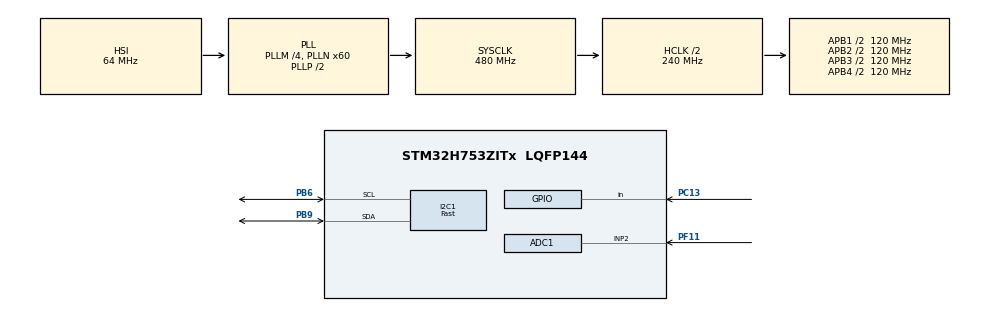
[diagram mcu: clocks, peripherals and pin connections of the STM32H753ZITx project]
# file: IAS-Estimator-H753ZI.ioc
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ADC1.Channel-1\#ChannelRegularConversion=ADC_CHANNEL_2
ADC1.ClockPrescaler=ADC_CLOCK_ASYNC_DIV4
ADC1.ContinuousConvMode=DISABLE
ADC1.ConversionDataManagement=ADC_CONVERSIONDATA_DMA_CIRCULAR
ADC1.ExternalTrigConv=ADC_EXTERNALTRIG_T3_TRGO
ADC1.NbrOfConversionFlag=1
ADC1.OffsetNumber-1\#ChannelRegularConversion=ADC_OFFSET_NONE
ADC1.OffsetSignedSaturation-1\#ChannelRegularConversion=DISABLE
ADC1.Rank-1\#ChannelRegularConversion=1
ADC1.SamplingTime-1\#ChannelRegularConversion=ADC_SAMPLETIME_1CYCLE_5
ADC1.master=1
CORTEX_M7.CPU_DCache=Disabled
CORTEX_M7.CPU_ICache=Disabled
CORTEX_M7.MPU_Control=__NULL
CORTEX_M7.default_mode_Activation=1
Dma.ADC1.0.Direction=DMA_PERIPH_TO_MEMORY
Dma.ADC1.0.EventEnable=DISABLE
Dma.ADC1.0.FIFOMode=DMA_FIFOMODE_DISABLE
Dma.ADC1.0.Instance=DMA1_Stream0
Dma.ADC1.0.MemDataAlignment=DMA_MDATAALIGN_HALFWORD
Dma.ADC1.0.MemInc=DMA_MINC_ENABLE
Dma.ADC1.0.Mode=DMA_CIRCULAR
Dma.ADC1.0.PeriphDataAlignment=DMA_PDATAALIGN_HALFWORD
Dma.ADC1.0.PeriphInc=DMA_PINC_DISABLE
Dma.ADC1.0.Polarity=HAL_DMAMUX_REQ_GEN_RISING
Dma.ADC1.0.Priority=DMA_PRIORITY_LOW
Dma.ADC1.0.RequestNumber=1
Dma.ADC1.0.SignalID=NONE
Dma.ADC1.0.SyncEnable=DISABLE
Dma.ADC1.0.SyncPolarity=HAL_DMAMUX_SYNC_NO_EVENT
Dma.ADC1.0.SyncRequestNumber=1
Dma.ADC1.0.SyncSignalID=NONE
Dma.Request0=ADC1
I2C1.I2C_Speed_Mode=I2C_Fast
I2C1.Timing=0x00B03FDB
Mcu.Family=STM32H7
Mcu.Name=STM32H753ZITx
Mcu.Package=LQFP144
NUCLEO-H753ZI.BUTTON=1
NUCLEO-H753ZI.LD1=true
NUCLEO-H753ZI.LD2=true
NUCLEO-H753ZI.LD3=true
NUCLEO-H753ZI.VCP=true
NVIC.DMA1_Stream0_IRQn=true\:0\:0\:false\:false\:true\:false\:true\:true
NVIC.EXTI15_10_IRQn=true\:0\:0\:false\:false\:true\:false\:true\:true
NVIC.PriorityGroup=NVIC_PRIORITYGROUP_4
PB6.Mode=I2C
PB6.Signal=I2C1_SCL
PB9.Mode=I2C
PB9.Signal=I2C1_SDA
PC13.Signal=GPIO_Input
PC14-OSC32_IN\ (OSC32_IN).Signal=RCC_OSC32_IN
PC15-OSC32_OUT\ (OSC32_OUT).Signal=RCC_OSC32_OUT
PD8.Signal=USART3_TX
PD9.Signal=USART3_RX
PF11.Mode=IN2-Single-Ended
PF11.Signal=ADC1_INP2
PH0-OSC_IN\ (PH0).Signal=RCC_OSC_IN
PH1-OSC_OUT\ (PH1).Signal=RCC_OSC_OUT
ProjectManager.HeapSize=0x200
ProjectManager.StackSize=0x400
ProjectManager.TargetToolchain=Makefile
RCC.ADCFreq_Value=80000000
RCC.APB1Freq_Value=120000000
RCC.APB2Freq_Value=120000000
RCC.APB3Freq_Value=120000000
RCC.APB4Freq_Value=120000000
RCC.CortexFreq_Value=480000000
RCC.D1PPRE=RCC_APB3_DIV2
RCC.D2PPRE1=RCC_APB1_DIV2
RCC.D2PPRE2=RCC_APB2_DIV2
RCC.D3PPRE=RCC_APB4_DIV2
RCC.DIVM1=4
RCC.DIVM2=4
RCC.DIVN1=60
RCC.DIVN2=10
RCC.DIVQ1=4
RCC.HCLKFreq_Value=240000000
RCC.HPRE=RCC_HCLK_DIV2
RCC.HSE_VALUE=8000000
RCC.PLL2FRACN=0
RCC.PLL3FRACN=0
RCC.PLLFRACN=0
RCC.PWR_Regulator_Voltage_Scale=PWR_REGULATOR_VOLTAGE_SCALE0
RCC.SYSCLKFreq_VALUE=480000000
RCC.SYSCLKSource=RCC_SYSCLKSOURCE_PLLCLK
RCC.USBFreq_Value=240000000
TIM3.Period=999
TIM3.Prescaler=119
TIM3.TIM_MasterOutputTrigger=TIM_TRGO_UPDATE
VP_MEMORYMAP_VS_MEMORYMAP.Mode=CurAppReg
VP_NUCLEO-H753ZI_VS_BSP_COMMON.Mode=COMMON
VP_TIM3_VS_ClockSourceINT.Mode=Internal
board=NUCLEO-H753ZI

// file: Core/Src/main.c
/* USER CODE BEGIN Header */
/**
  ******************************************************************************
  * @file           : main.c
  * @brief          : Main program body
  ******************************************************************************
  * @attention
  *
  * Copyright (c) 2026 STMicroelectronics.
  * All rights reserved.
  *
  * This software is licensed under terms that can be found in the LICENSE file
  * in the root directory of this software component.
  * If no LICENSE file comes with this software, it is provided AS-IS.
  *
  ******************************************************************************
  */
/* USER CODE END Header */
#include "main.h"

/* USER CODE BEGIN Includes */
#include <stdio.h>
#include <string.h>
#include <stdbool.h>
#include <math.h>

#include "arm_math.h"
#include "ssd1306.h"
#include "ssd1306_fonts.h"
/* USER CODE END Includes */

/* USER CODE BEGIN PD */
#define ADC_BUFFER_SIZE 2048
#define FFT_SIZE ADC_BUFFER_SIZE

#define SAMPLE_RATE 2000.0f
#define MIN_OMEGA 5.0f
#define MAX_OMEGA 24.0f
#define N_OMEGA 100
#define N_ORDERS 2
#define TRACKING_SIGMA 0.5f
#define TRACKING_WEIGHT 40.0f
#define RMS_SIGMA 1.0f
#define RMS_WEIGHT 15.0f
#define RMS_MAX 320.0f
#define DISAGREE_THRESHOLD 3.0f
#define AMPLITUDE_THRESHOLD 20.0f
#define WAIT_STEPS 1

/* Voltage measurement */
#define VREF 3.3f
#define ADC_MAX 65535.0f           /* 16-bit ADC max value (2^16 - 1) */
/* USER CODE END PD */

COM_InitTypeDef BspCOMInit;
ADC_HandleTypeDef hadc1;
DMA_HandleTypeDef hdma_adc1;

I2C_HandleTypeDef hi2c1;

TIM_HandleTypeDef htim3;

/* USER CODE BEGIN PV */

/* ADC DMA buffer - must be in AXI SRAM (DMA cannot access DTCMRAM on H7) */
__attribute__((section(".ram_d1"))) uint16_t adc_input_buffer[ADC_BUFFER_SIZE];

volatile uint8_t buffer_half_full_flag = 0;
volatile uint8_t buffer_full_flag = 0;

// FFT buffers and instance
float32_t fft_input[FFT_SIZE];
float32_t fft_output[FFT_SIZE * 2];  // Complex output: real and imaginary
float32_t fft_magnitude[FFT_SIZE];
float32_t hann_window[FFT_SIZE];

arm_rfft_fast_instance_f32 fft_instance;

static const uint8_t mopa_orders[N_ORDERS] = {1, 4};
float32_t mopa_omega[N_OMEGA];
float32_t mopa_pdf[N_OMEGA];
float32_t mopa_biased_pdf[N_OMEGA];
float32_t mopa_prev_ias = 0.0f;
float32_t mopa_current_ias = 0.0f;
volatile uint8_t mopa_ias_ready = 0;
uint8_t mopa_initialized = 0;

float32_t spectrum_df = 0.0f;
float32_t spectrum_max_freq = 0.0f;
float32_t mopa_frame_rms = 0.0f;
uint8_t mopa_was_zero = 1;
uint16_t mopa_consecutive_nonzero = 0;
uint32_t display_last_update = 0;

/* USER CODE END PV */

void SystemClock_Config(void);
static void MX_GPIO_Init(void);
static void MX_DMA_Init(void);
static void MX_ADC1_Init(void);
static void MX_TIM3_Init(void);
static void MX_I2C1_Init(void);
/* USER CODE BEGIN PFP */

static void mopa_init(void);
static void normalize_spectrum(void);
static float32_t interp_spectrum(float32_t freq);
static void compute_pdf_map(void);
static float32_t rms_to_omega(float32_t rms);
static float32_t extract_ias(void);

/* USER CODE END PFP */

/* USER CODE BEGIN 0 */

/*
HELPER FUNCTIONS
*/

// Initialize Hann window coefficients
void init_hann_window(void)
{
  const float32_t pi = 3.14159265358979323846f;
  for (uint32_t i = 0; i < FFT_SIZE; i++)
  {
    // Hann window: w(n) = 0.5 * (1 - cos(2*pi*n/(N-1)))
    hann_window[i] = 0.5f * (1.0f - arm_cos_f32(2.0f * pi * i / (FFT_SIZE - 1)));
  }
}

/*
MOPA FUNCTIONS
*/

// Process FFT on ADC buffer segment with Hann windowing
void process_fft(uint16_t* input, uint32_t offset)
{
  uint32_t half_size = FFT_SIZE / 2;
  uint32_t old_data_offset;

  // Determine the offset of the old data
  if (offset == 0) {
      old_data_offset = half_size;
  } else {
      old_data_offset = 0;
  }

  // Construct Input Buffer: [OLD DATA] + [NEW DATA]

  // First copy data without windowing to calculate DC offset
  float32_t dc_sum = 0.0f;
  for (uint32_t i = 0; i < half_size; i++)
  {
      fft_input[i] = (float32_t) input[old_data_offset + i];
      dc_sum += fft_input[i];
  }
  for (uint32_t i = 0; i < half_size; i++)
  {
      fft_input[i + half_size] = (float32_t) input[offset + i];
      dc_sum += fft_input[i + half_size];
  }

  // Calculate and remove DC offset
  float32_t dc_offset = dc_sum / (float32_t)FFT_SIZE;

  // Remove DC offset and apply Hann window
  for (uint32_t i = 0; i < FFT_SIZE; i++)
  {
      fft_input[i] = (fft_input[i] - dc_offset) * hann_window[i];
  }

  // Perform FFT
  arm_rfft_fast_f32(&fft_instance, fft_input, fft_output, 0);

  // Calculate magnitude spectrum
  arm_cmplx_mag_f32(fft_output, fft_magnitude, FFT_SIZE / 2);

  // Normalize the magnitude spectrum (for FFT scaling)
  float32_t norm_factor = 2.0f / (float32_t)FFT_SIZE;
  for (uint32_t i = 0; i < FFT_SIZE / 2; i++) {
    fft_magnitude[i] *= norm_factor;
  }

  // Run MOPA algorithm
  if (mopa_initialized) {
    normalize_spectrum();
    compute_pdf_map();
    mopa_current_ias = extract_ias();
    mopa_ias_ready = 1;
  }
}

// Initialize MOPA algorithm: compute omega vector and spectrum parameters
static void mopa_init(void) {
  /* Compute omega candidate vector */
  float32_t d_omega = (MAX_OMEGA - MIN_OMEGA) / (float32_t)(N_OMEGA - 1);
  for (uint16_t i = 0; i < N_OMEGA; i++) {
    mopa_omega[i] = MIN_OMEGA + i * d_omega;
  }

  // Compute spectrum parameters based on FFT size and sample rate
  spectrum_df = SAMPLE_RATE / (float32_t)FFT_SIZE;
  spectrum_max_freq = spectrum_df * ((float32_t)FFT_SIZE / 2.0f - 1.0f);

  mopa_initialized = 1;
}

// Normalize the magnitude spectrum by its RMS value
static void normalize_spectrum(void) {
  float32_t sum_sq = 0.0f;
  uint16_t n_bins = FFT_SIZE / 2;

  for (uint16_t i = 0; i < n_bins; i++) {
    sum_sq += fft_magnitude[i] * fft_magnitude[i];
  }

  float32_t rms;
  arm_sqrt_f32(sum_sq / (float32_t)n_bins, &rms);
  mopa_frame_rms = rms;

  if (rms > 1e-10f) {
    float32_t inv_rms = 1.0f / rms;
    for (uint16_t i = 0; i < n_bins; i++) {
      fft_magnitude[i] *= inv_rms;
    }
  }
}

// Linear interpolation of spectrum at a provided freqouency
// This is used in compute_pdf_map to read spectrum magnitudes at harmonic frequencies that fall between FFT bins
static float32_t interp_spectrum(float32_t freq) {
  // Handle boundary cases
  if (freq <= 0.0f) {
    return fft_magnitude[0];
  }
  if (freq >= spectrum_max_freq) {
    return fft_magnitude[FFT_SIZE / 2 - 1];
  }

  // Calculate bin index from frequency
  float32_t bin_float = freq / spectrum_df;
  uint16_t idx = (uint16_t)bin_float;

  if (idx >= FFT_SIZE / 2 - 1) {
    idx = FFT_SIZE / 2 - 2;
  }

  // Linear interpolation between bins
  float32_t f0 = idx * spectrum_df;
  float32_t f1 = (idx + 1) * spectrum_df;
  float32_t v0 = fft_magnitude[idx];
  float32_t v1 = fft_magnitude[idx + 1];

  float32_t t = (freq - f0) / (f1 - f0);
  return v0 + t * (v1 - v0);
}

// Compute the PDF for the current time frame from the spectrum and harmonic orders
static void compute_pdf_map(void) {
  for (uint16_t i = 0; i < N_OMEGA; i++) {
    float32_t w = mopa_omega[i];
    float32_t pdf = 1.0f;

    for (uint8_t o = 0; o < N_ORDERS; o++) {
      float32_t freq = mopa_orders[o] * w;
      if (freq < spectrum_max_freq) {
        float32_t s = interp_spectrum(freq);
        if (s < 1e-10f) s = 1e-10f;
        pdf *= s;
      }
    }

    mopa_pdf[i] = pdf;
  }

  float32_t sum = 0.0f;
  for (uint16_t i = 0; i < N_OMEGA; i++) {
    sum += mopa_pdf[i];
  }

  if (sum > 0.0f) {
    float32_t inv_sum = 1.0f / sum;
    for (uint16_t i = 0; i < N_OMEGA; i++) {
      mopa_pdf[i] *= inv_sum;
    }
  }
}

// Linear mapping of RMS value to angular speed
static float32_t rms_to_omega(float32_t rms) {
  float32_t ratio = rms / RMS_MAX;
  if (ratio < 0.0f) ratio = 0.0f;
  if (ratio > 1.0f) ratio = 1.0f;
  return MIN_OMEGA + (MAX_OMEGA - MIN_OMEGA) * ratio;
}

// Estimate the instantaneous angular speed from the PDF using tracking and RMS bias
static float32_t extract_ias(void) {
  float32_t max_val = 0.0f;
  uint16_t peak_idx = 0;
  float32_t raw_ias;

  // First frame has no previous estimate so pick the unbiased PDF peak
  if (mopa_prev_ias == 0.0f) {
    for (uint16_t i = 0; i < N_OMEGA; i++) {
      if (mopa_pdf[i] > max_val) {
        max_val = mopa_pdf[i];
        peak_idx = i;
      }
    }
    raw_ias = mopa_omega[peak_idx];
  } else {
    float32_t t_sigma_sq_2 = 2.0f * TRACKING_SIGMA * TRACKING_SIGMA;
    float32_t omega_rms = rms_to_omega(mopa_frame_rms);

    float32_t disagreement = mopa_prev_ias - omega_rms;
    if (disagreement < 0.0f) disagreement = -disagreement;

    if (disagreement > DISAGREE_THRESHOLD) {
      // Bias the PDF with tracking and RMS Gaussians to correct tracking
      float32_t r_sigma_sq_2 = 2.0f * RMS_SIGMA * RMS_SIGMA;
      max_val = 0.0f;
      for (uint16_t i = 0; i < N_OMEGA; i++) {
        float32_t w = mopa_omega[i];
        float32_t t_diff = w - mopa_prev_ias;
        float32_t tracking_g = expf(-(t_diff * t_diff) / t_sigma_sq_2);
        float32_t r_diff = w - omega_rms;
        float32_t rms_g = expf(-(r_diff * r_diff) / r_sigma_sq_2);
        mopa_biased_pdf[i] = mopa_pdf[i] * (1.0f + tracking_g * TRACKING_WEIGHT) * (1.0f + rms_g * RMS_WEIGHT);
        if (mopa_biased_pdf[i] > max_val) {
          max_val = mopa_biased_pdf[i];
          peak_idx = i;
        }
      }
    } else {
      // Bias the PDF with tracking Gaussian only to enforce temporal continuity
      max_val = 0.0f;
      for (uint16_t i = 0; i < N_OMEGA; i++) {
        float32_t w = mopa_omega[i];
        float32_t t_diff = w - mopa_prev_ias;
        float32_t tracking_g = expf(-(t_diff * t_diff) / t_sigma_sq_2);
        mopa_biased_pdf[i] = mopa_pdf[i] * (1.0f + tracking_g * TRACKING_WEIGHT);
        if (mopa_biased_pdf[i] > max_val) {
          max_val = mopa_biased_pdf[i];
          peak_idx = i;
        }
      }
    }
    raw_ias = mopa_omega[peak_idx];
  }

  mopa_prev_ias = raw_ias;

  // Zero out IAS when the signal amplitude is below the threshold
  uint8_t should_be_zero = (mopa_frame_rms < AMPLITUDE_THRESHOLD) ? 1 : 0;

  if (should_be_zero) {
    mopa_consecutive_nonzero = 0;
    mopa_was_zero = 1;
    return 0.0f;
  }

  // Wait for a few consecutive nonzero frames before outputting IAS (hysteresis)
  if (mopa_was_zero) {
    mopa_consecutive_nonzero++;
    if (mopa_consecutive_nonzero >= WAIT_STEPS) {
      mopa_was_zero = 0;
      return raw_ias;
    }
    return 0.0f;
  }

  return raw_ias;
}

/* USER CODE END 0 */

int main(void)
{

  /* MCU Configuration--------------------------------------------------------*/

  /* Reset of all peripherals, Initializes the Flash interface and the Systick. */
  HAL_Init();

  /* Configure the system clock */
  SystemClock_Config();

  /* Initialize all configured peripherals */
  MX_GPIO_Init();
  MX_DMA_Init();
  MX_ADC1_Init();
  MX_TIM3_Init();
  MX_I2C1_Init();
  /* USER CODE BEGIN 2 */

  // Initialize FFT instance
  arm_rfft_fast_init_f32(&fft_instance, FFT_SIZE);

  // Initialize Hann window coefficients
  init_hann_window();

  // Initialize MOPA algorithm
  mopa_init();

  ssd1306_Init();

  /* USER CODE END 2 */

  /* Initialize leds */
  BSP_LED_Init(LED_GREEN);
  BSP_LED_Init(LED_BLUE);
  BSP_LED_Init(LED_RED);

  /* Initialize USER push-button, will be used to trigger an interrupt each time it's pressed.*/
  BSP_PB_Init(BUTTON_USER, BUTTON_MODE_EXTI);

  /* Initialize COM1 port (115200, 8 bits (7-bit data + 1 stop bit), no parity */
  BspCOMInit.BaudRate   = 115200;
  BspCOMInit.WordLength = COM_WORDLENGTH_8B;
  BspCOMInit.StopBits   = COM_STOPBITS_1;
  BspCOMInit.Parity     = COM_PARITY_NONE;
  BspCOMInit.HwFlowCtl  = COM_HWCONTROL_NONE;
  if (BSP_COM_Init(COM1, &BspCOMInit) != BSP_ERROR_NONE)
  {
    Error_Handler();
  }

  HAL_ADC_Start_DMA(&hadc1, (uint32_t*)adc_input_buffer, ADC_BUFFER_SIZE);
  HAL_TIM_Base_Start(&htim3);

  /* Infinite loop */
  /* USER CODE BEGIN WHILE */

  while (1)
  {
    if (mopa_ias_ready) {
      mopa_ias_ready = 0;
      uint32_t tick = HAL_GetTick();
      int ias_int = (int)mopa_current_ias;
      int ias_frac = (int)((mopa_current_ias - ias_int) * 100);
      if (ias_frac < 0) ias_frac = -ias_frac;
      int rms_int = (int)mopa_frame_rms;
      int rms_frac = (int)((mopa_frame_rms - rms_int) * 100);
      if (rms_frac < 0) rms_frac = -rms_frac;

      char uart_buf[64];
      int len = sprintf(uart_buf, "%lu,%d.%02d,%d.%02d\n", tick, ias_int, ias_frac, rms_int, rms_frac);
      HAL_UART_Transmit(&hcom_uart[COM1], (uint8_t*)uart_buf, len, HAL_MAX_DELAY);

      if (tick - display_last_update >= 200) {
        display_last_update = tick;
        int rpm = (int)(mopa_current_ias * 60.0f);
        char rpm_buf[16];
        sprintf(rpm_buf, "%d RPM", rpm);
        ssd1306_Fill(Black);
        ssd1306_SetCursor(0, 20);
        ssd1306_WriteString(rpm_buf, Font_16x26, White);
        ssd1306_UpdateScreen();
      }
    }

    // Check if ADC buffer is half full
    if (buffer_half_full_flag)
    {
      buffer_half_full_flag = 0;
      process_fft(adc_input_buffer, 0);
    }

    // Check if ADC buffer is full
    if (buffer_full_flag)
    {
      buffer_full_flag = 0;
      process_fft(adc_input_buffer, ADC_BUFFER_SIZE / 2);
    }
    /* USER CODE END WHILE */

  }
}

void SystemClock_Config(void)
{
  RCC_OscInitTypeDef RCC_OscInitStruct = {0};
  RCC_ClkInitTypeDef RCC_ClkInitStruct = {0};

  /** Supply configuration update enable
  */
  HAL_PWREx_ConfigSupply(PWR_LDO_SUPPLY);

  /** Configure the main internal regulator output voltage
  */
  __HAL_PWR_VOLTAGESCALING_CONFIG(PWR_REGULATOR_VOLTAGE_SCALE0);

  while(!__HAL_PWR_GET_FLAG(PWR_FLAG_VOSRDY)) {}

  /** Initializes the RCC Oscillators according to the specified parameters
  * in the RCC_OscInitTypeDef structure.
  */
  RCC_OscInitStruct.OscillatorType = RCC_OSCILLATORTYPE_HSI;
  RCC_OscInitStruct.HSIState = RCC_HSI_DIV1;
  RCC_OscInitStruct.HSICalibrationValue = RCC_HSICALIBRATION_DEFAULT;
  RCC_OscInitStruct.PLL.PLLState = RCC_PLL_ON;
  RCC_OscInitStruct.PLL.PLLSource = RCC_PLLSOURCE_HSI;
  RCC_OscInitStruct.PLL.PLLM = 4;
  RCC_OscInitStruct.PLL.PLLN = 60;
  RCC_OscInitStruct.PLL.PLLP = 2;
  RCC_OscInitStruct.PLL.PLLQ = 4;
  RCC_OscInitStruct.PLL.PLLR = 2;
  RCC_OscInitStruct.PLL.PLLRGE = RCC_PLL1VCIRANGE_3;
  RCC_OscInitStruct.PLL.PLLVCOSEL = RCC_PLL1VCOWIDE;
  RCC_OscInitStruct.PLL.PLLFRACN = 0;
  if (HAL_RCC_OscConfig(&RCC_OscInitStruct) != HAL_OK)
  {
    Error_Handler();
  }

  /** Initializes the CPU, AHB and APB buses clocks
  */
  RCC_ClkInitStruct.ClockType = RCC_CLOCKTYPE_HCLK|RCC_CLOCKTYPE_SYSCLK
                              |RCC_CLOCKTYPE_PCLK1|RCC_CLOCKTYPE_PCLK2
                              |RCC_CLOCKTYPE_D3PCLK1|RCC_CLOCKTYPE_D1PCLK1;
  RCC_ClkInitStruct.SYSCLKSource = RCC_SYSCLKSOURCE_PLLCLK;
  RCC_ClkInitStruct.SYSCLKDivider = RCC_SYSCLK_DIV1;
  RCC_ClkInitStruct.AHBCLKDivider = RCC_HCLK_DIV2;
  RCC_ClkInitStruct.APB3CLKDivider = RCC_APB3_DIV2;
  RCC_ClkInitStruct.APB1CLKDivider = RCC_APB1_DIV2;
  RCC_ClkInitStruct.APB2CLKDivider = RCC_APB2_DIV2;
  RCC_ClkInitStruct.APB4CLKDivider = RCC_APB4_DIV2;

  if (HAL_RCC_ClockConfig(&RCC_ClkInitStruct, FLASH_LATENCY_4) != HAL_OK)
  {
    Error_Handler();
  }
}

static void MX_ADC1_Init(void)
{

  ADC_MultiModeTypeDef multimode = {0};
  ADC_ChannelConfTypeDef sConfig = {0};

  /** Common config
  */
  hadc1.Instance = ADC1;
  hadc1.Init.ClockPrescaler = ADC_CLOCK_ASYNC_DIV4;
  hadc1.Init.Resolution = ADC_RESOLUTION_16B;
  hadc1.Init.ScanConvMode = ADC_SCAN_DISABLE;
  hadc1.Init.EOCSelection = ADC_EOC_SINGLE_CONV;
  hadc1.Init.LowPowerAutoWait = DISABLE;
  hadc1.Init.ContinuousConvMode = DISABLE;
  hadc1.Init.NbrOfConversion = 1;
  hadc1.Init.DiscontinuousConvMode = DISABLE;
  hadc1.Init.ExternalTrigConv = ADC_EXTERNALTRIG_T3_TRGO;
  hadc1.Init.ExternalTrigConvEdge = ADC_EXTERNALTRIGCONVEDGE_RISING;
  hadc1.Init.ConversionDataManagement = ADC_CONVERSIONDATA_DMA_CIRCULAR;
  hadc1.Init.Overrun = ADC_OVR_DATA_PRESERVED;
  hadc1.Init.LeftBitShift = ADC_LEFTBITSHIFT_NONE;
  hadc1.Init.OversamplingMode = DISABLE;
  hadc1.Init.Oversampling.Ratio = 1;
  if (HAL_ADC_Init(&hadc1) != HAL_OK)
  {
    Error_Handler();
  }

  /** Configure the ADC multi-mode
  */
  multimode.Mode = ADC_MODE_INDEPENDENT;
  if (HAL_ADCEx_MultiModeConfigChannel(&hadc1, &multimode) != HAL_OK)
  {
    Error_Handler();
  }

  /** Configure Regular Channel
  */
  sConfig.Channel = ADC_CHANNEL_2;
  sConfig.Rank = ADC_REGULAR_RANK_1;
  sConfig.SamplingTime = ADC_SAMPLETIME_1CYCLE_5;
  sConfig.SingleDiff = ADC_SINGLE_ENDED;
  sConfig.OffsetNumber = ADC_OFFSET_NONE;
  sConfig.Offset = 0;
  sConfig.OffsetSignedSaturation = DISABLE;
  if (HAL_ADC_ConfigChannel(&hadc1, &sConfig) != HAL_OK)
  {
    Error_Handler();
  }

}

static void MX_I2C1_Init(void)
{

  hi2c1.Instance = I2C1;
  hi2c1.Init.Timing = 0x00B03FDB;
  hi2c1.Init.OwnAddress1 = 0;
  hi2c1.Init.AddressingMode = I2C_ADDRESSINGMODE_7BIT;
  hi2c1.Init.DualAddressMode = I2C_DUALADDRESS_DISABLE;
  hi2c1.Init.OwnAddress2 = 0;
  hi2c1.Init.OwnAddress2Masks = I2C_OA2_NOMASK;
  hi2c1.Init.GeneralCallMode = I2C_GENERALCALL_DISABLE;
  hi2c1.Init.NoStretchMode = I2C_NOSTRETCH_DISABLE;
  if (HAL_I2C_Init(&hi2c1) != HAL_OK)
  {
    Error_Handler();
  }

  /** Configure Analogue filter
  */
  if (HAL_I2CEx_ConfigAnalogFilter(&hi2c1, I2C_ANALOGFILTER_ENABLE) != HAL_OK)
  {
    Error_Handler();
  }

  /** Configure Digital filter
  */
  if (HAL_I2CEx_ConfigDigitalFilter(&hi2c1, 0) != HAL_OK)
  {
    Error_Handler();
  }

}

static void MX_TIM3_Init(void)
{

  TIM_ClockConfigTypeDef sClockSourceConfig = {0};
  TIM_MasterConfigTypeDef sMasterConfig = {0};

  htim3.Instance = TIM3;
  htim3.Init.Prescaler = 119;
  htim3.Init.CounterMode = TIM_COUNTERMODE_UP;
  htim3.Init.Period = 999;
  htim3.Init.ClockDivision = TIM_CLOCKDIVISION_DIV1;
  htim3.Init.AutoReloadPreload = TIM_AUTORELOAD_PRELOAD_DISABLE;
  if (HAL_TIM_Base_Init(&htim3) != HAL_OK)
  {
    Error_Handler();
  }
  sClockSourceConfig.ClockSource = TIM_CLOCKSOURCE_INTERNAL;
  if (HAL_TIM_ConfigClockSource(&htim3, &sClockSourceConfig) != HAL_OK)
  {
    Error_Handler();
  }
  sMasterConfig.MasterOutputTrigger = TIM_TRGO_UPDATE;
  sMasterConfig.MasterSlaveMode = TIM_MASTERSLAVEMODE_DISABLE;
  if (HAL_TIMEx_MasterConfigSynchronization(&htim3, &sMasterConfig) != HAL_OK)
  {
    Error_Handler();
  }

}

static void MX_DMA_Init(void)
{

  /* DMA controller clock enable */
  __HAL_RCC_DMA1_CLK_ENABLE();

  /* DMA interrupt init */
  /* DMA1_Stream0_IRQn interrupt configuration */
  HAL_NVIC_SetPriority(DMA1_Stream0_IRQn, 0, 0);
  HAL_NVIC_EnableIRQ(DMA1_Stream0_IRQn);

}

static void MX_GPIO_Init(void)
{

  /* GPIO Ports Clock Enable */
  __HAL_RCC_GPIOC_CLK_ENABLE();
  __HAL_RCC_GPIOH_CLK_ENABLE();
  __HAL_RCC_GPIOF_CLK_ENABLE();
  __HAL_RCC_GPIOB_CLK_ENABLE();

}

/* USER CODE BEGIN 4 */

// DMA half-transfer complete callback
void HAL_ADC_ConvHalfCpltCallback(ADC_HandleTypeDef* hadc)
{
  if (hadc->Instance == ADC1)
  {
    buffer_half_full_flag = 1;
  }
}

// DMA transfer complete callback
void HAL_ADC_ConvCpltCallback(ADC_HandleTypeDef* hadc)
{
  if (hadc->Instance == ADC1)
  {
    buffer_full_flag = 1;
  }
}

/* USER CODE END 4 */

void Error_Handler(void)
{
  __disable_irq();
  while (1)
  {
  }
}
